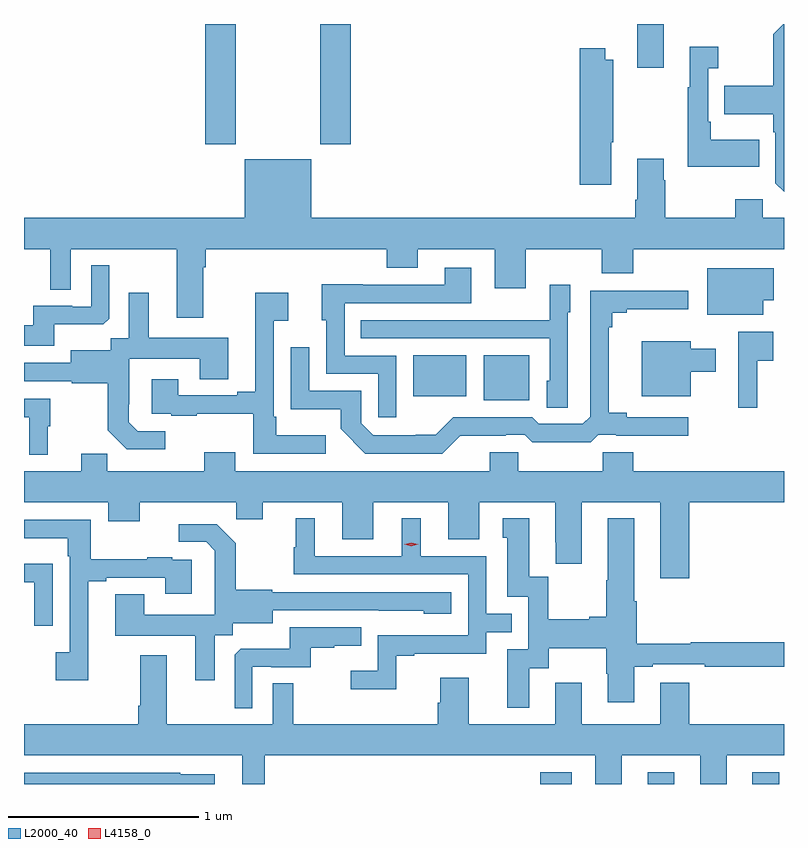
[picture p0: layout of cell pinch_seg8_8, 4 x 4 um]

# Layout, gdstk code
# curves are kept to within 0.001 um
import gdstk
lib = gdstk.Library(unit=1e-6, precision=1e-09)
def R(c, l, rs):  # rectangles x0, y0, x1, y1
    for r in rs: c.add(gdstk.rectangle(r[:2], r[2:], *l))
def P(c, l, *ps):  # polygons
    for p in ps: c.add(gdstk.Polygon(p, *l))
L2000_40 = (2000, 40)
L4158_0 = (4158, 0)

pinch_seg8_8 = lib.new_cell('pinch_seg8_8')
R(pinch_seg8_8, L2000_40, [(1121.741,1131.001,1121.905,1131.064), (1122.305,1131.001,1122.445,1131.064), (1122.857,1131.001,1122.997,1131.064), (1121.444,1133.021,1121.683,1133.257), (1121.072,1133.042,1121.35,1133.257), (1119.977,1134.369,1120.137,1135.001), (1120.582,1134.369,1120.742,1135.001), (1122.251,1134.771,1122.391,1135.001)])
P(pinch_seg8_8, L2000_40, [(1123.023,1135.001),(1123.019,1135.001),(1122.966,1134.947),(1122.966,1134.675),(1122.709,1134.675),(1122.709,1134.527),(1122.966,1134.527),(1122.966,1134.431),(1122.978,1134.431),(1122.978,1134.162),(1123.023,1134.117)],
  [(1122.893,1134.391),(1122.637,1134.391),(1122.637,1134.487),(1122.624,1134.487),(1122.624,1134.767),(1122.676,1134.767),(1122.676,1134.88),(1122.527,1134.88),(1122.527,1134.667),(1122.516,1134.667),(1122.516,1134.251),(1122.893,1134.251)],
  [(1122.115,1134.379),(1122.123,1134.379),(1122.123,1134.814),(1122.082,1134.814),(1122.082,1134.874),(1121.948,1134.874),(1121.948,1134.156),(1122.115,1134.156)],
  [(1119.023,1133.816),(1119.162,1133.816),(1119.162,1133.602),(1119.27,1133.602),(1119.27,1133.816),(1119.827,1133.816),(1119.827,1133.454),(1119.967,1133.454),(1119.967,1133.72),(1119.98,1133.72),(1119.98,1133.816),(1120.931,1133.816),(1120.931,1133.717),(1121.095,1133.717),(1121.095,1133.816),(1121.501,1133.816),(1121.501,1133.61),(1121.665,1133.61),(1121.665,1133.816),(1122.065,1133.816),(1122.065,1133.688),(1122.229,1133.688),(1122.229,1133.816),(1123.023,1133.816),(1123.023,1133.98),(1122.912,1133.98),(1122.912,1134.079),(1122.766,1134.079),(1122.766,1133.98),(1122.399,1133.98),(1122.399,1134.179),(1122.391,1134.179),(1122.391,1134.292),(1122.251,1134.292),(1122.251,1134.076),(1122.239,1134.076),(1122.239,1133.98),(1120.534,1133.98),(1120.534,1134.289),(1120.184,1134.289),(1120.184,1133.98),(1119.023,1133.98)],
  [(1119.181,1133.42),(1119.439,1133.42),(1119.471,1133.451),(1119.471,1133.731),(1119.378,1133.731),(1119.378,1133.514),(1119.278,1133.514),(1119.278,1133.517),(1119.071,1133.517),(1119.071,1133.416),(1119.023,1133.416),(1119.023,1133.307),(1119.181,1133.307)],
  [(1120.983,1133.256),(1120.71,1133.256),(1120.71,1133.532),(1121.377,1133.532),(1121.377,1133.719),(1121.237,1133.719),(1121.237,1133.628),(1120.807,1133.628),(1120.807,1133.63),(1120.589,1133.63),(1120.589,1133.442),(1120.614,1133.442),(1120.614,1133.16),(1120.887,1133.16),(1120.887,1132.932),(1120.983,1132.932)],
  [(1122.913,1133.546),(1122.97,1133.546),(1122.97,1133.716),(1122.62,1133.716),(1122.62,1133.471),(1122.913,1133.471)],
  [(1121.886,1133.484),(1121.899,1133.484),(1121.899,1133.629),(1121.79,1133.629),(1121.79,1133.443),(1121.473,1133.443),(1121.473,1133.442),(1120.795,1133.442),(1120.795,1133.346),(1121.79,1133.346),(1121.79,1133.124),(1121.774,1133.124),(1121.774,1132.981),(1121.886,1132.981)],
  [(1121.318,1132.835),(1121.558,1132.835),(1121.558,1132.839),(1121.658,1132.839),(1121.698,1132.8),(1122.005,1132.8),(1122.045,1132.839),(1122.139,1132.839),(1122.139,1132.835),(1122.52,1132.835),(1122.52,1132.932),(1122.196,1132.932),(1122.196,1132.955),(1122.1,1132.955),(1122.1,1133.405),(1122.119,1133.405),(1122.119,1133.482),(1122.196,1133.482),(1122.196,1133.501),(1122.52,1133.501),(1122.52,1133.598),(1122.003,1133.598),(1122.003,1132.935),(1121.964,1132.896),(1121.733,1132.896),(1121.697,1132.932),(1121.283,1132.932),(1121.189,1132.838),(1121.084,1132.838),(1121.084,1132.836),(1120.86,1132.836),(1120.797,1132.899),(1120.797,1133.07),(1120.524,1133.07),(1120.524,1133.299),(1120.428,1133.299),(1120.428,1132.973),(1120.69,1132.973),(1120.69,1132.871),(1120.82,1132.74),(1121.223,1132.74)],
  [(1120.612,1132.837),(1120.351,1132.837),(1120.351,1132.933),(1120.338,1132.933),(1120.338,1133.438),(1120.414,1133.438),(1120.414,1133.587),(1120.241,1133.587),(1120.241,1133.065),(1120.145,1133.065),(1120.145,1133.046),(1119.835,1133.046),(1119.835,1133.131),(1119.695,1133.131),(1119.695,1132.95),(1119.799,1132.95),(1119.799,1132.938),(1119.931,1132.938),(1119.931,1132.949),(1120.23,1132.949),(1120.23,1132.74),(1120.612,1132.74)],
  [(1119.766,1132.857),(1119.621,1132.857),(1119.574,1132.904),(1119.574,1132.999),(1119.576,1132.999),(1119.576,1133.24),(1119.947,1133.24),(1119.947,1133.131),(1120.099,1133.131),(1120.099,1133.35),(1119.679,1133.35),(1119.679,1133.587),(1119.575,1133.587),(1119.575,1133.348),(1119.48,1133.348),(1119.48,1133.284),(1119.269,1133.284),(1119.269,1133.217),(1119.023,1133.217),(1119.023,1133.121),(1119.273,1133.121),(1119.273,1133.109),(1119.465,1133.109),(1119.465,1132.863),(1119.565,1132.763),(1119.766,1132.763)],
  [(1122.881,1133.228),(1122.967,1133.228),(1122.967,1133.38),(1122.783,1133.38),(1122.783,1132.98),(1122.881,1132.98)],
  [(1122.532,1133.171),(1122.664,1133.171),(1122.664,1133.293),(1122.532,1133.293),(1122.532,1133.332),(1122.275,1133.332),(1122.275,1133.042),(1122.532,1133.042)],
  [(1119.148,1132.884),(1119.16,1132.884),(1119.16,1133.028),(1119.023,1133.028),(1119.023,1132.932),(1119.05,1132.932),(1119.05,1132.733),(1119.148,1132.733)],
  [(1122.524,1132.484),(1123.023,1132.484),(1123.023,1132.648),(1122.23,1132.648),(1122.23,1132.746),(1122.07,1132.746),(1122.07,1132.648),(1121.625,1132.648),(1121.625,1132.746),(1121.474,1132.746),(1121.474,1132.648),(1120.135,1132.648),(1120.135,1132.747),(1119.971,1132.747),(1119.971,1132.648),(1119.461,1132.648),(1119.461,1132.739),(1119.323,1132.739),(1119.323,1132.648),(1119.023,1132.648),(1119.023,1132.484),(1119.467,1132.484),(1119.467,1132.385),(1119.631,1132.385),(1119.631,1132.484),(1120.141,1132.484),(1120.141,1132.394),(1120.279,1132.394),(1120.279,1132.484),(1120.697,1132.484),(1120.697,1132.29),(1120.861,1132.29),(1120.861,1132.484),(1121.255,1132.484),(1121.255,1132.29),(1121.419,1132.29),(1121.419,1132.484),(1121.819,1132.484),(1121.819,1132.273),(1121.822,1132.273),(1121.822,1132.161),(1121.959,1132.161),(1121.959,1132.484),(1122.371,1132.484),(1122.371,1132.083),(1122.524,1132.083)],
  [(1121.683,1131.61),(1121.785,1131.61),(1121.785,1131.716),(1122.088,1131.716),(1122.088,1131.582),(1122.095,1131.582),(1122.095,1131.432),(1122.235,1131.432),(1122.235,1131.618),(1122.331,1131.618),(1122.331,1131.63),(1122.607,1131.63),(1122.607,1131.618),(1123.023,1131.618),(1123.023,1131.746),(1122.531,1131.746),(1122.531,1131.739),(1122.248,1131.739),(1122.248,1131.964),(1122.235,1131.964),(1122.235,1132.399),(1122.095,1132.399),(1122.095,1132.073),(1122.088,1132.073),(1122.088,1131.881),(1121.999,1131.881),(1121.999,1131.868),(1121.781,1131.868),(1121.781,1132.091),(1121.683,1132.091),(1121.683,1132.399),(1121.543,1132.399),(1121.543,1132.296),(1121.567,1132.296),(1121.567,1131.987),(1121.676,1131.987),(1121.676,1131.711),(1121.567,1131.711),(1121.567,1131.402),(1121.683,1131.402)],
  [(1120.983,1131.675),(1121.077,1131.675),(1121.077,1131.687),(1121.457,1131.687),(1121.457,1131.801),(1121.591,1131.801),(1121.591,1131.897),(1121.457,1131.897),(1121.457,1132.2),(1121.11,1132.2),(1121.11,1132.399),(1121.012,1132.399),(1121.012,1132.2),(1120.552,1132.2),(1120.552,1132.399),(1120.454,1132.399),(1120.454,1132.248),(1120.443,1132.248),(1120.443,1132.104),(1121.361,1132.104),(1121.361,1131.783),(1120.884,1131.783),(1120.884,1131.598),(1120.743,1131.598),(1120.743,1131.5),(1120.983,1131.5)],
  [(1119.361,1132.068),(1119.457,1132.068),(1119.457,1132.086),(1119.767,1132.086),(1119.767,1132.002),(1119.907,1132.002),(1119.907,1132.182),(1119.803,1132.182),(1119.803,1132.195),(1119.671,1132.195),(1119.671,1132.184),(1119.373,1132.184),(1119.373,1132.392),(1119.023,1132.392),(1119.023,1132.295),(1119.252,1132.295),(1119.252,1132.199),(1119.264,1132.199),(1119.264,1131.694),(1119.189,1131.694),(1119.189,1131.546),(1119.361,1131.546)],
  [(1120.027,1131.784),(1120.122,1131.784),(1120.122,1131.848),(1120.333,1131.848),(1120.333,1131.915),(1121.127,1131.914),(1121.127,1131.896),(1121.272,1131.896),(1121.272,1132.011),(1120.329,1132.011),(1120.329,1132.024),(1120.137,1132.024),(1120.137,1132.269),(1120.037,1132.369),(1119.837,1132.369),(1119.837,1132.275),(1119.981,1132.275),(1120.028,1132.228),(1120.028,1132.133),(1120.026,1132.133),(1120.026,1131.892),(1119.655,1131.892),(1119.655,1132.001),(1119.503,1132.001),(1119.503,1131.782),(1119.923,1131.782),(1119.923,1131.546),(1120.027,1131.546)],
  [(1119.174,1132.159),(1119.023,1132.159),(1119.023,1132.062),(1119.078,1132.062),(1119.078,1131.834),(1119.174,1131.834)],
  [(1120.224,1131.618),(1120.324,1131.618),(1120.324,1131.615),(1120.532,1131.615),(1120.532,1131.717),(1120.655,1131.717),(1120.655,1131.728),(1120.799,1131.728),(1120.799,1131.825),(1120.422,1131.825),(1120.422,1131.713),(1120.163,1131.713),(1120.131,1131.681),(1120.131,1131.401),(1120.224,1131.401)],
  [(1120.289,1131.152),(1122.029,1131.152),(1122.029,1131.001),(1122.169,1131.001),(1122.169,1131.152),(1122.581,1131.152),(1122.581,1131.001),(1122.721,1131.001),(1122.721,1131.152),(1123.023,1131.152),(1123.023,1131.316),(1122.524,1131.316),(1122.524,1131.535),(1122.371,1131.535),(1122.371,1131.316),(1121.959,1131.316),(1121.959,1131.535),(1121.819,1131.535),(1121.819,1131.316),(1121.365,1131.316),(1121.365,1131.559),(1121.213,1131.559),(1121.213,1131.429),(1121.201,1131.429),(1121.201,1131.316),(1120.441,1131.316),(1120.441,1131.53),(1120.332,1131.53),(1120.332,1131.316),(1119.775,1131.316),(1119.775,1131.679),(1119.635,1131.679),(1119.635,1131.412),(1119.623,1131.412),(1119.623,1131.316),(1119.023,1131.316),(1119.023,1131.152),(1120.172,1131.152),(1120.172,1131.001),(1120.289,1131.001)],
  [(1120.027,1131.052),(1119.846,1131.052),(1119.846,1131.06),(1119.023,1131.06),(1119.023,1131.001),(1120.027,1131.001)])
P(pinch_seg8_8, L4158_0, [(1121.061,1132.252),(1121.025,1132.262),(1121.025,1132.262),(1121.025,1132.262),(1121.061,1132.272),(1121.097,1132.263),(1121.097,1132.263),(1121.097,1132.263)])

lib.write_gds('pinch_seg8_8.gds')
